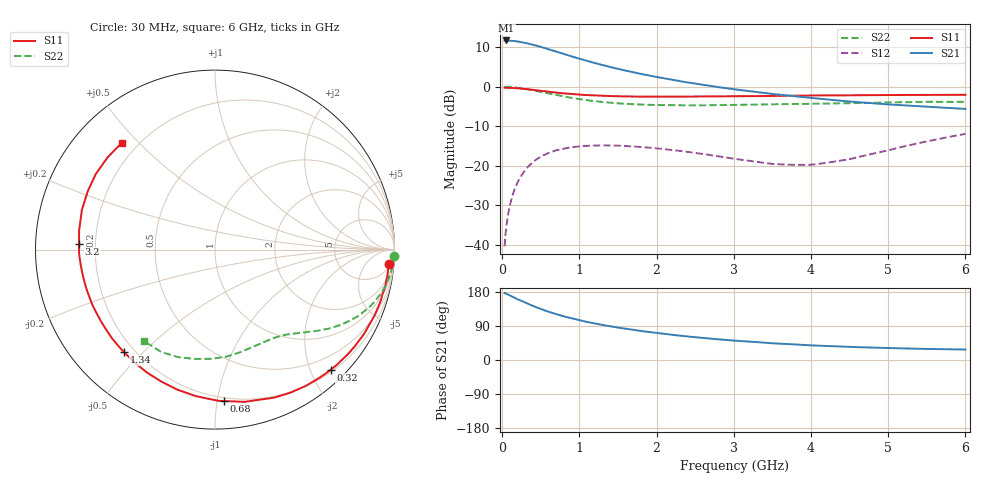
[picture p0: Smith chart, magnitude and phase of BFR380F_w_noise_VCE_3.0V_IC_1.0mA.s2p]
! Infineon Technologies  Discrete & RF Semiconductors
! BFR380F
! VCE =  3.0 V,  IC =  1.0 mA
! Common Emitter S-Parameters:  Nov 2015
# GHz  S  MA  R  50
!  f  S11  S21  S12  S22
! GHz  MAG  ANG  MAG  ANG  MAG  ANG  MAG  ANG
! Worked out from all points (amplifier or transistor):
!   206 points, 30 MHz to 6 GHz, reference 50 ohm
!   highest |S21| = 11.7 dB at 50 MHz (marker M1)
!   |S21| within 3 dB of that: start of sweep to 728.8 MHz
!   unconditionally stable (mu >= 1): 3.102 GHz to 5.106 GHz
!   at 200 MHz: K = 0.05, MSG = 17.8 dB, |S12| = -24.2 dB
!   at 1.56 GHz: K = 0.44, MSG = 9.6 dB, |S12| = -15.0 dB
!   at 6 GHz: K = 0.93, MSG = 3.2 dB, |S12| = -11.9 dB
!   lowest NFmin = 0.89 dB at 450 MHz
!   S11 on the Smith chart (normalised r, x): 30 MHz: 8, -22; 320 MHz: 0.24, -2.33; 680 MHz: 0.18, -1.04; 1.34 GHz: 0.16, -0.44; 3.2 GHz: 0.14, +0.02; 6 GHz: 0.14, +0.45
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0.03  0.9715 -4.6  3.822 177.0  0.0096 87.6  0.9974 -1.9
0.05  0.9709 -7.8  3.846 174.5  0.0161 86.2  0.9965 -3.1
0.09  0.9689 -13.5  3.822 170.9  0.0289 82.4  0.9926 -5.6
0.15  0.9618 -22.4  3.792 165.2  0.0474 77.2  0.9822 -9.3
0.2  0.9542 -29.6  3.735 160.2  0.062 73.0  0.9695 -12.2
0.32  0.9287 -46.1  3.544 149.4  0.0936 63.6  0.9306 -18.7
0.4  0.9123 -56.4  3.395 142.5  0.1117 57.9  0.8994 -22.5
0.48  0.8919 -65.9  3.231 136.0  0.127 52.6  0.8675 -26.0
0.6  0.8641 -79.0  2.978 127.3  0.1455 45.5  0.821 -30.5
0.68  0.845 -86.7  2.817 122.3  0.1544 41.4  0.7907 -33.1
0.88  0.8097 -103.6  2.449 110.8  0.1703 32.7  0.7268 -38.5
1.04  0.7881 -114.8  2.201 103.1  0.1771 27.2  0.6873 -41.9
1.2  0.7739 -124.5  1.991 96.2  0.1805 22.5  0.6556 -45.2
1.34  0.7636 -131.7  1.834 91.0  0.1807 19.2  0.6349 -47.7
1.66  0.7516 -145.3  1.549 80.5  0.1763 13.4  0.6026 -53.1
2.02  0.7489 -156.8  1.315 70.8  0.1653 9.4  0.5865 -59.1
2.6  0.7518 -171.1  1.054 58.1  0.1407 7.9  0.5816 -68.9
3.1  0.7577 179.4  0.903 49.9  0.1189 13.3  0.5897 -77.4
3.2  0.7583 177.5  0.879 48.6  0.1152 15.4  0.5915 -79.1
4.1  0.7739 161.8  0.706 37.8  0.1057 44.7  0.6098 -93.7
5.1  0.7857 145.9  0.589 31.1  0.1658 68.2  0.6341 -110.5
6  0.7897 131.1  0.524 27.6  0.2528 69.3  0.6448 -127.9
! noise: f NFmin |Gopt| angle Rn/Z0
0.45  0.89  0.66  41  0.41
0.9  1.11  0.61  80  0.32
1.8  1.88  0.61  134  0.2
1.9  2.18  0.63  138  0.19
2.4  2.61  0.63  155  0.14
3.5  3.96  0.62  -172  0.16
